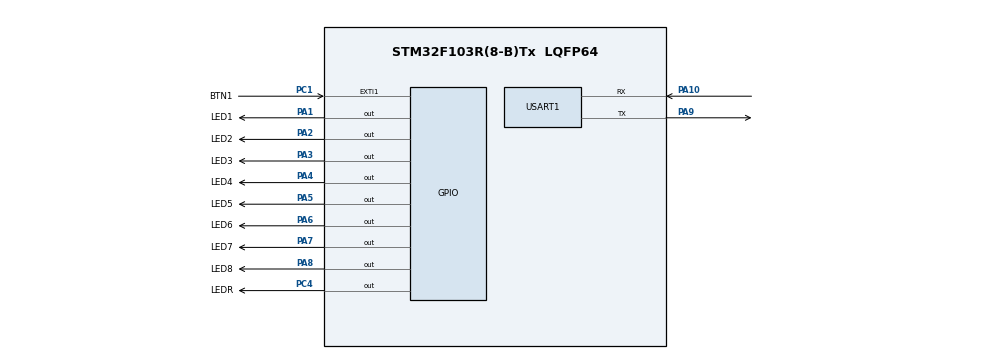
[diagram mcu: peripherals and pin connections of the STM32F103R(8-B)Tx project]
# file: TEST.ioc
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Mcu.Family=STM32F1
Mcu.Name=STM32F103R(8-B)Tx
Mcu.Package=LQFP64
NVIC.PriorityGroup=NVIC_PRIORITYGROUP_4
PA1.GPIO_Label=LED1
PA1.GPIO_ModeDefaultOutputPP=GPIO_MODE_OUTPUT_PP
PA1.GPIO_PuPd=GPIO_NOPULL
PA1.PinState=GPIO_PIN_SET
PA1.Signal=GPIO_Output
PA10.Mode=Asynchronous
PA10.Signal=USART1_RX
PA13.Mode=Trace_Asynchronous_SW
PA13.Signal=SYS_JTMS-SWDIO
PA14.Mode=Trace_Asynchronous_SW
PA14.Signal=SYS_JTCK-SWCLK
PA2.GPIO_Label=LED2
PA2.PinState=GPIO_PIN_SET
PA2.Signal=GPIO_Output
PA3.GPIO_Label=LED3
PA3.PinState=GPIO_PIN_SET
PA3.Signal=GPIO_Output
PA4.GPIO_Label=LED4
PA4.PinState=GPIO_PIN_SET
PA4.Signal=GPIO_Output
PA5.GPIO_Label=LED5
PA5.PinState=GPIO_PIN_SET
PA5.Signal=GPIO_Output
PA6.GPIO_Label=LED6
PA6.PinState=GPIO_PIN_SET
PA6.Signal=GPIO_Output
PA7.GPIO_Label=LED7
PA7.PinState=GPIO_PIN_SET
PA7.Signal=GPIO_Output
PA8.GPIO_Label=LED8
PA8.PinState=GPIO_PIN_SET
PA8.Signal=GPIO_Output
PA9.Mode=Asynchronous
PA9.Signal=USART1_TX
PB3.Mode=Trace_Asynchronous_SW
PB3.Signal=SYS_JTDO-TRACESWO
PC1.GPIO_Label=BTN1
PC1.GPIO_ModeDefaultEXTI=GPIO_MODE_IT_RISING_FALLING
PC1.GPIO_PuPd=GPIO_PULLUP
PC1.Signal=GPXTI1
PC4.GPIO_Label=LEDR
PC4.Signal=GPIO_Output
ProjectManager.HeapSize=0x200
ProjectManager.StackSize=0x400
ProjectManager.TargetToolchain=STM32CubeIDE
RCC.APB1Freq_Value=8000000
RCC.APB2Freq_Value=8000000
USART1.VirtualMode=VM_ASYNC
board=custom

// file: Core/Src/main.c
/* USER CODE BEGIN Header */
/**
  ******************************************************************************
  * @file           : main.c
  * @brief          : Main program body
  ******************************************************************************
  * @attention
  *
  * Copyright (c) 2025 STMicroelectronics.
  * All rights reserved.
  *
  * This software is licensed under terms that can be found in the LICENSE file
  * in the root directory of this software component.
  * If no LICENSE file comes with this software, it is provided AS-IS.
  *
  ******************************************************************************
  */
/* USER CODE END Header */
#include "main.h"

/* USER CODE BEGIN Includes */
#include <stdio.h>
#include <stdbool.h>

/* USER CODE END Includes */

UART_HandleTypeDef huart1;

void SystemClock_Config(void);
static void MX_GPIO_Init(void);
static void MX_USART1_UART_Init(void);

/* USER CODE BEGIN 0 */

// Send printf to uart1
int _write(int fd, char* ptr, int len) {
  HAL_StatusTypeDef hstatus;

  if (fd == 1 || fd == 2) {
    hstatus = HAL_UART_Transmit(&huart1, (uint8_t *) ptr, len, HAL_MAX_DELAY);
    if (hstatus == HAL_OK)
      return len;
    else
      return -1;
  }
  return -1;
}

/* USER CODE END 0 */

int main(void)
{

  /* MCU Configuration--------------------------------------------------------*/

  /* Reset of all peripherals, Initializes the Flash interface and the Systick. */
  HAL_Init();

  /* Configure the system clock */
  SystemClock_Config();

  /* Initialize all configured peripherals */
  MX_GPIO_Init();
  MX_USART1_UART_Init();

  /* Infinite loop */
  /* USER CODE BEGIN WHILE */

  bool f_iter = false;
  int iter = 0;

  while (1)
  {

	  if((iter%2) == 0)
	  {
		  HAL_GPIO_TogglePin(LEDR_GPIO_Port, LEDR_Pin);
	  }
	  else
	  {
		  if(f_iter)
		  {
			  HAL_GPIO_TogglePin(LED1_GPIO_Port, LED1_Pin);
			  HAL_GPIO_TogglePin(LED3_GPIO_Port, LED3_Pin);
			  HAL_GPIO_TogglePin(LED5_GPIO_Port, LED5_Pin);
			  HAL_GPIO_TogglePin(LED7_GPIO_Port, LED7_Pin);
		  }
		  else
		  {
			  HAL_GPIO_TogglePin(LED2_GPIO_Port, LED2_Pin);
			  HAL_GPIO_TogglePin(LED4_GPIO_Port, LED4_Pin);
			  HAL_GPIO_TogglePin(LED6_GPIO_Port, LED6_Pin);
			  HAL_GPIO_TogglePin(LED8_GPIO_Port, LED8_Pin);
		  }
		  f_iter = !f_iter;
	  }
	  iter++;
	  HAL_Delay(500);
    /* USER CODE END WHILE */

  }
}

void SystemClock_Config(void)
{
  RCC_OscInitTypeDef RCC_OscInitStruct = {0};
  RCC_ClkInitTypeDef RCC_ClkInitStruct = {0};

  /** Initializes the RCC Oscillators according to the specified parameters
  * in the RCC_OscInitTypeDef structure.
  */
  RCC_OscInitStruct.OscillatorType = RCC_OSCILLATORTYPE_HSI;
  RCC_OscInitStruct.HSIState = RCC_HSI_ON;
  RCC_OscInitStruct.HSICalibrationValue = RCC_HSICALIBRATION_DEFAULT;
  RCC_OscInitStruct.PLL.PLLState = RCC_PLL_NONE;
  if (HAL_RCC_OscConfig(&RCC_OscInitStruct) != HAL_OK)
  {
    Error_Handler();
  }

  /** Initializes the CPU, AHB and APB buses clocks
  */
  RCC_ClkInitStruct.ClockType = RCC_CLOCKTYPE_HCLK|RCC_CLOCKTYPE_SYSCLK
                              |RCC_CLOCKTYPE_PCLK1|RCC_CLOCKTYPE_PCLK2;
  RCC_ClkInitStruct.SYSCLKSource = RCC_SYSCLKSOURCE_HSI;
  RCC_ClkInitStruct.AHBCLKDivider = RCC_SYSCLK_DIV1;
  RCC_ClkInitStruct.APB1CLKDivider = RCC_HCLK_DIV1;
  RCC_ClkInitStruct.APB2CLKDivider = RCC_HCLK_DIV1;

  if (HAL_RCC_ClockConfig(&RCC_ClkInitStruct, FLASH_LATENCY_0) != HAL_OK)
  {
    Error_Handler();
  }
}

static void MX_USART1_UART_Init(void)
{

  huart1.Instance = USART1;
  huart1.Init.BaudRate = 115200;
  huart1.Init.WordLength = UART_WORDLENGTH_8B;
  huart1.Init.StopBits = UART_STOPBITS_1;
  huart1.Init.Parity = UART_PARITY_NONE;
  huart1.Init.Mode = UART_MODE_TX_RX;
  huart1.Init.HwFlowCtl = UART_HWCONTROL_NONE;
  huart1.Init.OverSampling = UART_OVERSAMPLING_16;
  if (HAL_UART_Init(&huart1) != HAL_OK)
  {
    Error_Handler();
  }

}

static void MX_GPIO_Init(void)
{
  GPIO_InitTypeDef GPIO_InitStruct = {0};

  /* GPIO Ports Clock Enable */
  __HAL_RCC_GPIOC_CLK_ENABLE();
  __HAL_RCC_GPIOA_CLK_ENABLE();
  __HAL_RCC_GPIOB_CLK_ENABLE();

  /*Configure GPIO pin Output Level */
  HAL_GPIO_WritePin(GPIOA, LED1_Pin|LED2_Pin|LED3_Pin|LED4_Pin
                          |LED5_Pin|LED6_Pin|LED7_Pin|LED8_Pin, GPIO_PIN_SET);

  /*Configure GPIO pin Output Level */
  HAL_GPIO_WritePin(LEDR_GPIO_Port, LEDR_Pin, GPIO_PIN_RESET);

  /*Configure GPIO pin : BTN1_Pin */
  GPIO_InitStruct.Pin = BTN1_Pin;
  GPIO_InitStruct.Mode = GPIO_MODE_IT_RISING_FALLING;
  GPIO_InitStruct.Pull = GPIO_PULLUP;
  HAL_GPIO_Init(BTN1_GPIO_Port, &GPIO_InitStruct);

  /*Configure GPIO pins : LED1_Pin LED2_Pin LED3_Pin LED4_Pin
                           LED5_Pin LED6_Pin LED7_Pin LED8_Pin */
  GPIO_InitStruct.Pin = LED1_Pin|LED2_Pin|LED3_Pin|LED4_Pin
                          |LED5_Pin|LED6_Pin|LED7_Pin|LED8_Pin;
  GPIO_InitStruct.Mode = GPIO_MODE_OUTPUT_PP;
  GPIO_InitStruct.Pull = GPIO_NOPULL;
  GPIO_InitStruct.Speed = GPIO_SPEED_FREQ_LOW;
  HAL_GPIO_Init(GPIOA, &GPIO_InitStruct);

  /*Configure GPIO pin : LEDR_Pin */
  GPIO_InitStruct.Pin = LEDR_Pin;
  GPIO_InitStruct.Mode = GPIO_MODE_OUTPUT_PP;
  GPIO_InitStruct.Pull = GPIO_NOPULL;
  GPIO_InitStruct.Speed = GPIO_SPEED_FREQ_LOW;
  HAL_GPIO_Init(LEDR_GPIO_Port, &GPIO_InitStruct);

}

void Error_Handler(void)
{
  __disable_irq();
  while (1)
  {
  }
}
